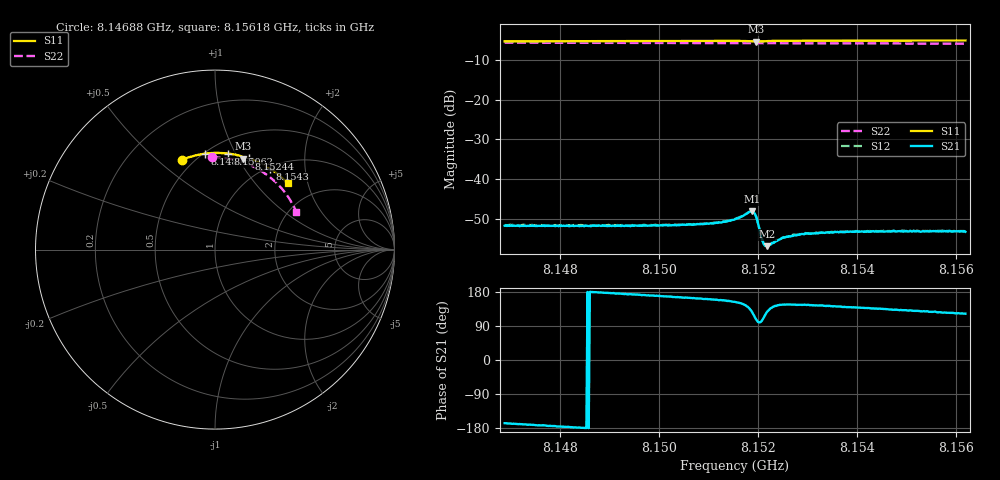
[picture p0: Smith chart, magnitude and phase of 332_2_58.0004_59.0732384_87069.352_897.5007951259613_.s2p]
#  HZ  S  RI  R  50.00
! Rohde & Schwarz Vector Network Analyzer
! Rohde-Schwarz,ZNB20-2Port,1311601062101988,3.16
! Created: UTC 3/21/2024, 1:05:09 AM
! freq[Hz]  re:S11  im:S11  re:S21  im:S21  re:S12  im:S12  re:S22  im:S22
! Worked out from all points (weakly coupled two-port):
!   401 points, 8.14688 GHz to 8.15618 GHz, reference 50 ohm
!   highest |S21| = -47.96 dB at 8.15188 GHz (marker M1); lowest = -56.7 dB at 8.15218 GHz (marker M2)
!   lowest |S11| = -5.5 dB at 8.15195 GHz (marker M3), VSWR 3.26, Z = 37.2 + j52.4 ohm
!   |S11| at or under -10 dB: nowhere
!   |S22| runs from -6.0 to -5.8 dB; largest |S21 - S12| = 0.00012
!   S11 on the Smith chart (normalised r, x): 8.14688 GHz: 0.43, +0.61; 8.14876 GHz: 0.51, +0.76; 8.15062 GHz: 0.62, +0.93; 8.15244 GHz: 0.77, +1.11; 8.1543 GHz: 1.03, +1.32; 8.15618 GHz: 1.43, +1.51
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8.146881e9  -0.1845 0.5008  -0.00257 -0.000603  -0.00264 -0.000542  -0.017 0.5134
8.148439e9  -0.08 0.5307  -0.00262 -4.75e-05  -0.00268 -1.79e-05  0.0844 0.505
8.148764e9  -0.0577 0.5341  -0.00263 7.09e-05  -0.00267 0.000101  0.1052 0.5006
8.149996e9  0.028 0.5385  -0.00259 0.000507  -0.00263 0.00056  0.1811 0.4767
8.150624e9  0.0718 0.5354  -0.00265 0.000753  -0.00262 0.000796  0.2178 0.4603
8.151229e9  0.1141 0.5288  -0.00268 0.00107  -0.00266 0.00116  0.2518 0.4414
8.151531e9  0.1356 0.5235  -0.00284 0.00142  -0.00284 0.00148  0.2681 0.4311
8.151833e9  0.157 0.5124  -0.00275 0.00283  -0.00273 0.00287  0.2839 0.4199
8.15188e9  0.1586 0.5092  -0.00233 0.00325  -0.00232 0.0033  0.2861 0.4181
8.151926e9  0.1582 0.5067  -0.00156 0.00343  -0.00153 0.00351  0.2885 0.4165
8.151949e9  0.1577 0.5064  -0.00112 0.00333  -0.00109 0.00339  0.2895 0.4156
8.152089e9  0.1622 0.5111  -0.000483 0.00161  -0.000474 0.00163  0.2967 0.4106
8.152135e9  0.166 0.512  -0.00069 0.00131  -0.000685 0.00134  0.2989 0.4089
8.152182e9  0.1699 0.5121  -0.000889 0.00116  -0.000904 0.00117  0.3015 0.4072
8.152438e9  0.1892 0.508  -0.00147 0.00101  -0.00144 0.00103  0.3143 0.3969
8.152531e9  0.1959 0.5059  -0.00156 0.00104  -0.00156 0.00105  0.3188 0.3932
8.15274e9  0.21 0.5009  -0.00166 0.00111  -0.00169 0.00113  0.3286 0.3843
8.153089e9  0.2327 0.4915  -0.00171 0.00124  -0.00173 0.00124  0.3448 0.3693
8.153763e9  0.2747 0.4706  -0.00167 0.00142  -0.00171 0.00145  0.3739 0.3382
8.154297e9  0.3065 0.4514  -0.00161 0.00156  -0.00159 0.00157  0.3947 0.312
8.154646e9  0.3262 0.438  -0.00153 0.00164  -0.00156 0.00164  0.4074 0.2942
8.156181e9  0.4057 0.3686  -0.00118 0.00188  -0.00119 0.00189  0.4533 0.2104
